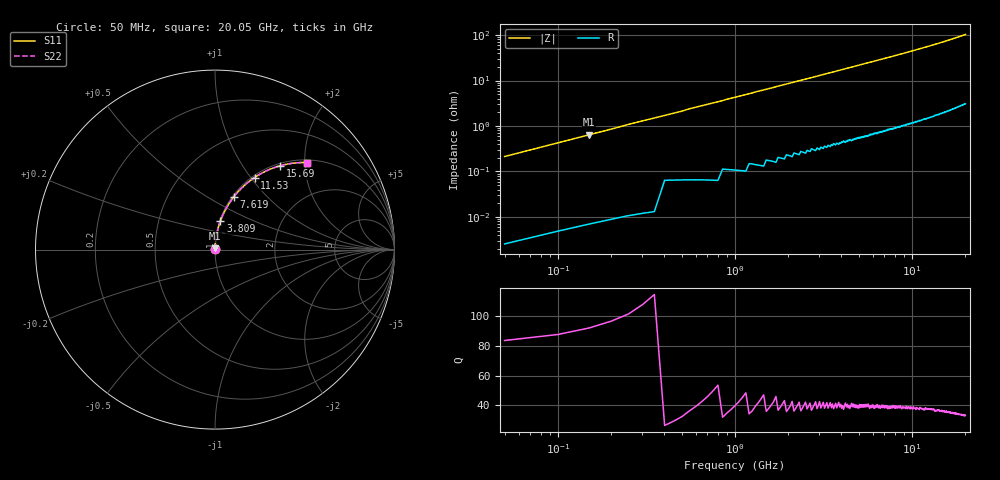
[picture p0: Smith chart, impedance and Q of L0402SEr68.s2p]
# MHZ S MA R 50
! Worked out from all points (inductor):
!   400 points, 50 MHz to 20.05 GHz, reference 50 ohm
!   read as one part in series: L = 680 pH near 150.3 MHz
!   highest Q = 91.8 at 150.3 MHz (marker M1), where L = 680 pH
!   S11 on the Smith chart (normalised r, x): 50 MHz: 1.00, +0.00; 3.809 GHz: 1.01, +0.33; 7.619 GHz: 1.02, +0.67; 11.53 GHz: 1.03, +1.04; 15.69 GHz: 1.04, +1.49; 20.05 GHz: 1.06, +2.06
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50  0.002137 88.4  1 -0.1  1 -0.1  0.002137 88.4
100.125  0.004279 88.3  1 -0.2  1 -0.2  0.004279 88.3
150.251  0.00642 88.2  1 -0.4  1 -0.4  0.00642 88.2
250.501  0.011 88.0  1 -0.6  1 -0.6  0.011 88.0
400.877  0.017 87.6  0.999 -1.0  0.999 -1.0  0.017 87.6
551.253  0.024 87.2  0.999 -1.3  0.999 -1.3  0.024 87.2
601.378  0.026 87.1  0.999 -1.5  0.999 -1.5  0.026 87.1
952.256  0.041 86.2  0.998 -2.3  0.998 -2.3  0.041 86.2
1353.258  0.058 85.3  0.997 -3.3  0.997 -3.3  0.058 85.3
2105.138  0.09 83.4  0.994 -5.1  0.994 -5.1  0.09 83.4
2606.391  0.111 82.2  0.991 -6.4  0.991 -6.4  0.111 82.2
3408.396  0.144 80.3  0.986 -8.3  0.986 -8.3  0.144 80.3
3809.398  0.161 79.3  0.983 -9.3  0.983 -9.3  0.161 79.3
5062.531  0.213 76.3  0.972 -12.3  0.972 -12.3  0.213 76.3
6716.667  0.279 72.4  0.953 -16.2  0.953 -16.2  0.279 72.4
7618.922  0.314 70.2  0.941 -18.3  0.941 -18.3  0.314 70.2
10075.06  0.406 64.6  0.903 -24.0  0.903 -24.0  0.406 64.6
11528.7  0.458 61.3  0.877 -27.2  0.877 -27.2  0.458 61.3
13433.46  0.521 57.1  0.839 -31.4  0.839 -31.4  0.521 57.1
15689.1  0.591 52.2  0.791 -36.2  0.791 -36.2  0.591 52.2
16741.73  0.621 50.0  0.766 -38.4  0.766 -38.4  0.621 50.0
20050  0.707 43.3  0.687 -44.9  0.687 -44.9  0.707 43.3
